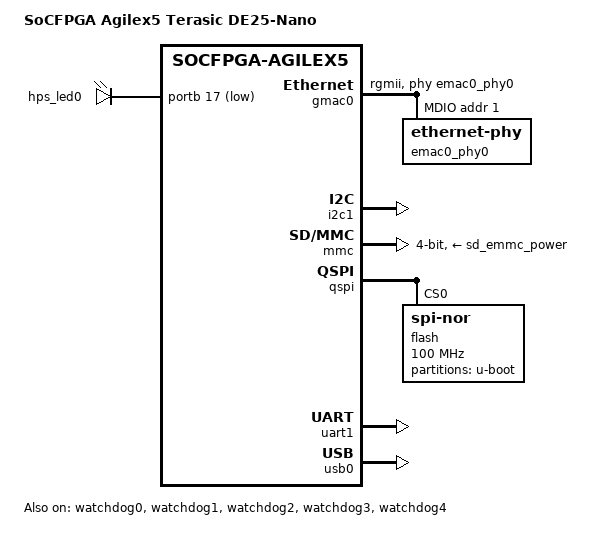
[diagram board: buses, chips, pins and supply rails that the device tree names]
// SPDX-License-Identifier: GPL-2.0-only
/*
 * Copyright (C) 2025, Altera Corporation
 */
#include "socfpga_agilex5.dtsi"

/ {
	model = "SoCFPGA Agilex5 Terasic DE25-Nano";
	compatible = "intel,socfpga-agilex5-socdk", "intel,socfpga-agilex5";

	aliases {
		serial0 = &uart1;
		ethernet0 = &gmac0;
		i2c1 = &i2c1;
	};

	chosen {
		stdout-path = "serial0:115200n8";
	};

	leds {
		compatible = "gpio-leds";

		led-0 {
			label = "hps_led0";
			gpios = <&portb 17 GPIO_ACTIVE_LOW>;
		};

	};

	memory@80000000 {
		device_type = "memory";
		/* We expect the bootloader to fill in the reg */
		reg = <0x0 0x80000000 0x0 0x0>;
	};
};

&gmac0 {
	status = "okay";
	/* TX/RX delays are on the PCB */
	phy-mode = "rgmii";
	phy-handle = <&emac0_phy0>;

	max-frame-size = <9000>;

	mdio0 {
		#address-cells = <1>;
		#size-cells = <0>;
		compatible = "snps,dwmac-mdio";
		emac0_phy0: ethernet-phy@0 {
			reg = <1>;
		};
	};
};

&gpio1 {
	status = "okay";
};

&i2c1 {
	status = "okay";
};

&mmc {
	status = "okay";

	no-1-8-v;
	disable-wp;
	cap-sd-highspeed;
	bus-width = <4>;
	vmmc-supply = <&sd_emmc_power>;
	vqmmc-supply = <&sd_io_1v8_reg>;
	max-frequency = <200000000>;
	sdhci-caps = <0x00000000 0x0000c800>;
	sdhci-caps-mask = <0x00002007 0x0000ff00>;
};

&osc1 {
	clock-frequency = <25000000>;
};

&qspi {
	status = "okay";
	flash@0 {
		compatible = "jedec,spi-nor";
		reg = <0>;
		spi-max-frequency = <100000000>;
		m25p,fast-read;
		cdns,read-delay = <2>;
		cdns,tshsl-ns = <50>;
		cdns,tsd2d-ns = <50>;
		cdns,tchsh-ns = <4>;
		cdns,tslch-ns = <4>;

		partitions {
			compatible = "fixed-partitions";
			#address-cells = <1>;
			#size-cells = <1>;
			rsu-handle = <&qspi_boot>;

			qspi_boot: partition@0 {
				label = "u-boot";
				reg = <0x0 0x01000000>;
			};
		};
	};
};

&sd_io_1v8_reg {
	gpios = <&portb 3 GPIO_ACTIVE_HIGH>;
};

&smmu {
	status = "okay";
};

&uart1 {
	status = "okay";
};

&usb0 {
	status = "okay";
	disable-over-current;
};

&watchdog0 {
	status = "okay";
};

&watchdog1 {
	status = "okay";
};

&watchdog2 {
	status = "okay";
};

&watchdog3 {
	status = "okay";
};

&watchdog4 {
	status = "okay";
	disable-over-current;
};

&temp_volt {
	voltage {
		#address-cells = <1>;
		#size-cells = <0>;
		input@2 {
			label = "0.8V VCC";
			reg = <2>;
		};

		input@3 {
			label = "1.8V VCCIO_SDM";
			reg = <3>;
		};

		input@4 {
			label = "1.8V VCCPT";
			reg = <4>;
		};

		input@5 {
			label = "1.2V VCCCRCORE";
			reg = <5>;
		};

		input@6 {
			label = "0.9V VCCH";
			reg = <6>;
		};

		input@7 {
			label = "0.8V VCCL";
			reg = <7>;
		};
	};

	temperature {
		#address-cells = <1>;
		#size-cells = <0>;

		input@0 {
			label = "Main Die SDM";
			reg = <0x0>;
		};

		input@10001 {
			label = "Main Die corner bottom left max";
			reg = <0x10000>;
		};

		input@30001 {
			label = "Main Die corner bottom right max";
			reg = <0x30000>;
		};

		input@40001 {
			label = "Main Die corner top right max";
			reg = <0x40000>;
		};
	};
};
